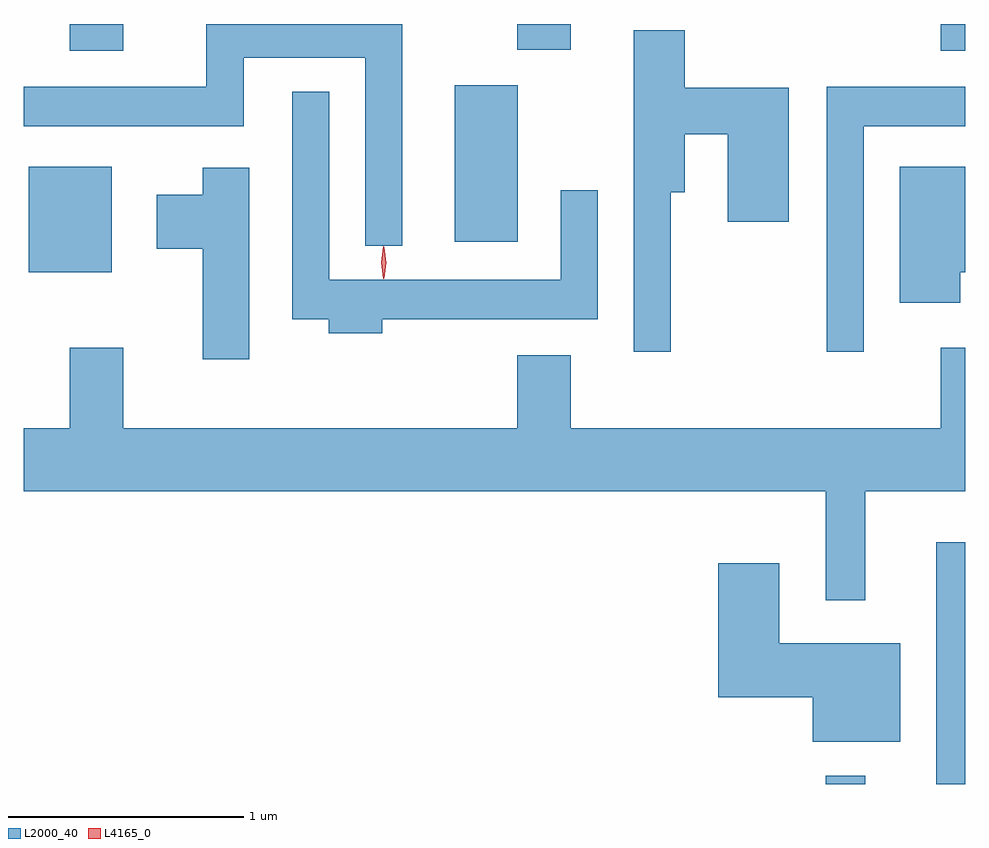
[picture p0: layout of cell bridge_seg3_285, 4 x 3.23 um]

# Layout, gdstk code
import gdstk
lib = gdstk.Library(unit=1e-6, precision=1e-09)
def R(c, l, rs):  # rectangles x0, y0, x1, y1
    for r in rs: c.add(gdstk.rectangle(r[:2], r[2:], *l))
def P(c, l, *ps):  # polygons
    for p in ps: c.add(gdstk.Polygon(p, *l))
L2000_40 = (2000, 40)
L4165_0 = (4165, 0)

bridge_seg3_285 = lib.new_cell('bridge_seg3_285')
R(bridge_seg3_285, L2000_40, [(1065.241,1115.892,1065.409,1115.928), (1065.711,1115.892,1065.835,1116.918), (1061.856,1118.066,1062.209,1118.514), (1063.666,1118.196,1063.934,1118.859), (1062.031,1119.006,1062.259,1119.12), (1065.731,1119.006,1065.835,1119.12), (1063.931,1119.011,1064.159,1119.12)])
P(bridge_seg3_285, L2000_40, [(1063.444,1119.12),(1062.611,1119.12),(1062.611,1118.854),(1061.835,1118.854),(1061.835,1118.686),(1062.769,1118.686),(1062.769,1118.976),(1063.286,1118.976),(1063.286,1118.178),(1063.444,1118.178)],
  [(1064.584,1118.406),(1064.644,1118.406),(1064.644,1118.651),(1064.826,1118.651),(1064.826,1118.281),(1065.084,1118.281),(1065.084,1118.849),(1064.644,1118.849),(1064.644,1119.094),(1064.426,1119.094),(1064.426,1117.728),(1064.584,1117.728)],
  [(1065.404,1118.686),(1065.835,1118.686),(1065.835,1118.854),(1065.246,1118.854),(1065.246,1117.728),(1065.404,1117.728)],
  [(1063.359,1117.866),(1064.274,1117.866),(1064.274,1118.413),(1064.116,1118.413),(1064.116,1118.034),(1063.134,1118.034),(1063.134,1118.833),(1062.976,1118.833),(1062.976,1117.866),(1063.131,1117.866),(1063.131,1117.806),(1063.359,1117.806)],
  [(1065.814,1118.066),(1065.835,1118.066),(1065.835,1118.514),(1065.556,1118.514),(1065.556,1117.936),(1065.814,1117.936)],
  [(1062.794,1118.509),(1062.596,1118.509),(1062.596,1118.394),(1062.401,1118.394),(1062.401,1118.166),(1062.596,1118.166),(1062.596,1117.696),(1062.794,1117.696)],
  [(1065.409,1117.136),(1065.835,1117.136),(1065.835,1117.744),(1065.731,1117.744),(1065.731,1117.404),(1064.159,1117.404),(1064.159,1117.714),(1063.931,1117.714),(1063.931,1117.404),(1062.259,1117.404),(1062.259,1117.744),(1062.031,1117.744),(1062.031,1117.404),(1061.835,1117.404),(1061.835,1117.136),(1065.241,1117.136),(1065.241,1116.673),(1065.409,1116.673)],
  [(1065.559,1116.489),(1065.044,1116.489),(1065.044,1116.829),(1064.786,1116.829),(1064.786,1116.261),(1065.186,1116.261),(1065.186,1116.071),(1065.559,1116.071)])
P(bridge_seg3_285, L4165_0, [(1063.363,1118.037),(1063.362,1118.038),(1063.353,1118.107),(1063.362,1118.176),(1063.363,1118.176),(1063.363,1118.176),(1063.373,1118.107),(1063.363,1118.038)],
  [(1063.365,1118.039),(1063.365,1118.04),(1063.355,1118.106),(1063.365,1118.172),(1063.365,1118.173),(1063.366,1118.172),(1063.375,1118.106),(1063.366,1118.04)])

lib.write_gds('bridge_seg3_285.gds')
